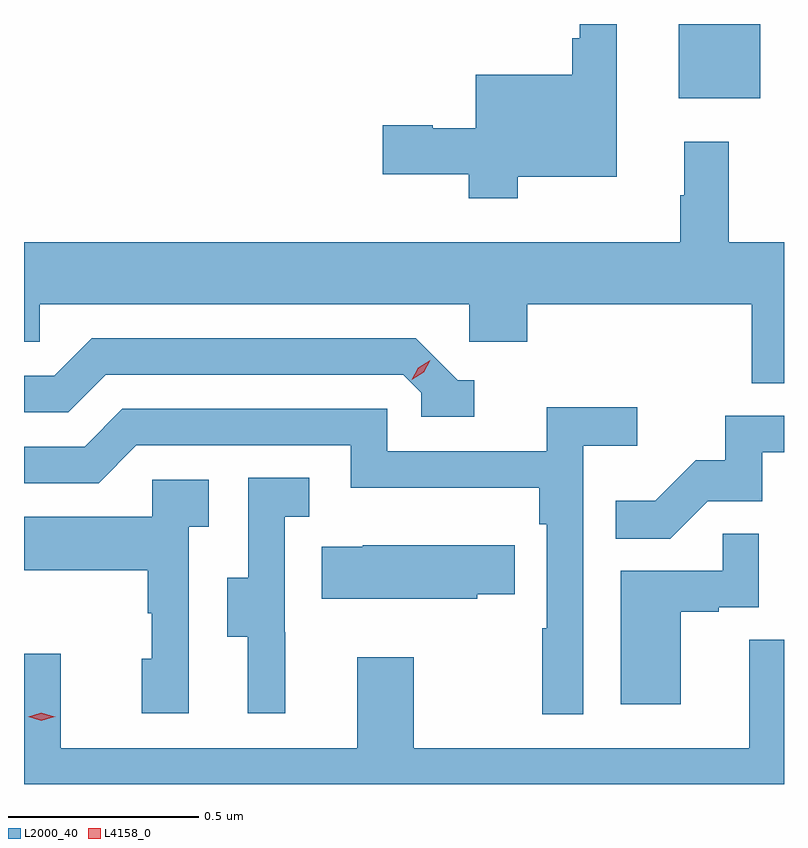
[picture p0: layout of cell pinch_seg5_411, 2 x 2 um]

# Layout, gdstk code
import gdstk
lib = gdstk.Library(unit=1e-6, precision=1e-09)
def R(c, l, rs):  # rectangles x0, y0, x1, y1
    for r in rs: c.add(gdstk.rectangle(r[:2], r[2:], *l))
def P(c, l, *ps):  # polygons
    for p in ps: c.add(gdstk.Polygon(p, *l))
L2000_40 = (2000, 40)
L4158_0 = (4158, 0)

pinch_seg5_411 = lib.new_cell('pinch_seg5_411')
R(pinch_seg5_411, L2000_40, [(953.375,871.955,953.59,872.15)])
P(pinch_seg5_411, L2000_40, [(952.951,871.748),(953.212,871.748),(953.212,872.15),(953.115,872.15),(953.115,872.113),(953.095,872.113),(953.095,872.017),(952.841,872.017),(952.841,871.876),(952.727,871.876),(952.727,871.884),(952.596,871.884),(952.596,871.754),(952.822,871.754),(952.822,871.691),(952.951,871.691)],
  [(953.652,871.576),(953.507,871.576),(953.507,871.84),(953.39,871.84),(953.39,871.7),(953.379,871.7),(953.379,871.576),(951.652,871.576),(951.652,871.314),(951.693,871.314),(951.693,871.412),(952.824,871.412),(952.824,871.314),(952.976,871.314),(952.976,871.412),(953.567,871.412),(953.567,871.204),(953.652,871.204)],
  [(952.837,871.212),(952.794,871.212),(952.683,871.323),(951.83,871.323),(951.731,871.224),(951.652,871.224),(951.652,871.128),(951.768,871.128),(951.867,871.227),(952.65,871.227),(952.698,871.179),(952.698,871.116),(952.837,871.116)],
  [(953.124,871.04),(953.266,871.04),(953.266,871.142),(953.027,871.142),(953.027,871.026),(952.608,871.026),(952.608,871.137),(951.911,871.137),(951.812,871.038),(951.652,871.038),(951.652,870.942),(951.849,870.942),(951.948,871.041),(952.512,871.041),(952.512,870.929),(953.008,870.929),(953.008,870.833),(953.028,870.833),(953.028,870.56),(953.016,870.56),(953.016,870.333),(953.124,870.333)],
  [(953.451,870.894),(953.595,870.894),(953.595,871.023),(953.652,871.023),(953.652,871.119),(953.497,871.119),(953.497,871.002),(953.42,871.002),(953.313,870.895),(953.209,870.895),(953.209,870.796),(953.353,870.796)],
  [(952.34,870.549),(952.338,870.549),(952.338,870.853),(952.402,870.853),(952.402,870.956),(952.242,870.956),(952.242,870.693),(952.187,870.693),(952.187,870.538),(952.241,870.538),(952.241,870.336),(952.34,870.336)],
  [(952.086,870.827),(952.138,870.827),(952.138,870.951),(951.99,870.951),(951.99,870.853),(951.652,870.853),(951.652,870.713),(951.978,870.713),(951.978,870.599),(951.988,870.599),(951.988,870.48),(951.962,870.48),(951.962,870.336),(952.086,870.336)],
  [(953.38,870.603),(953.48,870.603),(953.48,870.615),(953.586,870.615),(953.586,870.809),(953.491,870.809),(953.491,870.711),(953.222,870.711),(953.222,870.36),(953.38,870.36)],
  [(952.845,870.649),(952.943,870.649),(952.943,870.778),(952.543,870.778),(952.543,870.775),(952.435,870.775),(952.435,870.638),(952.845,870.638)],
  [(953.652,870.53),(953.561,870.53),(953.561,870.244),(952.677,870.244),(952.677,870.484),(952.529,870.484),(952.529,870.244),(951.749,870.244),(951.749,870.493),(951.652,870.493),(951.652,870.15),(953.652,870.15)])
P(pinch_seg5_411, L4158_0, [(951.698,870.317),(951.663,870.327),(951.662,870.327),(951.663,870.327),(951.698,870.337),(951.733,870.327),(951.734,870.327),(951.733,870.327)],
  [(952.673,871.214),(952.673,871.214),(952.69,871.246),(952.721,871.265),(952.721,871.265),(952.721,871.265),(952.704,871.233),(952.673,871.214)])

lib.write_gds('pinch_seg5_411.gds')
